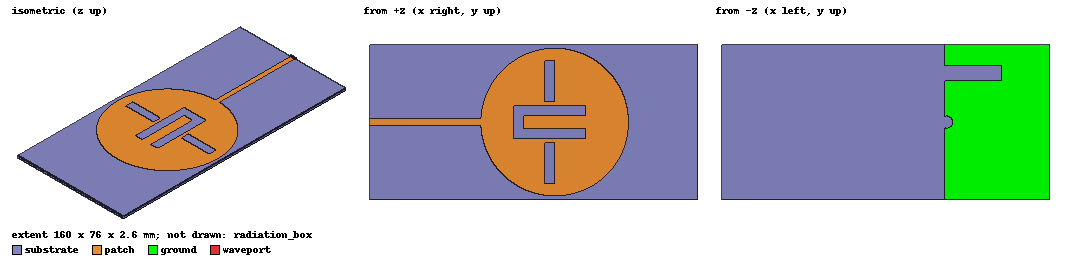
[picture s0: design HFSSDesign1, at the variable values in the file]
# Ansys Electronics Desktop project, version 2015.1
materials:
  vacuum: permittivity=1
  Material1: permittivity=4.7 dielectric_loss_tangent=0.001
  air: permittivity=1.0006 permeability=1.0000004
  FR4_epoxy: permittivity=4.4 dielectric_loss_tangent=0.02

design HFSSDesign1 (HFSS, DrivenModal, model units mm)
options: Calculate_Lossy_Dielectrics
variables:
  Lsubstrate = 160mm
  Wsubstrate = 76mm
  radius = 36mm
  Wstrip = 3mm
  Wradiation = 200mm
  Hradiation = 200mm
  substrate_height = 1.6mm
  Lradiation = 200mm
  gnd_plane_height = 51mm
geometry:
  substrate [FR4_epoxy] = box(corner=(-90.3mm, -Wsubstrate/2, 0mm), size=(Lsubstrate, Wsubstrate, substrate_height))
  ground = rectangle(corner=(-90.3mm, -Wsubstrate/2, 0mm), x_size=gnd_plane_height, y_size=Wsubstrate)
  patch = circle(normal=Z, centre=(0mm, 0mm, substrate_height), radius=radius)
  microstrip = rectangle(corner=(-90.3mm, -Wstrip/2, substrate_height), x_size=55.3mm+1mm, y_size=Wstrip)
  patch.unite(microstrip)
  waveport = rectangle(corner=(-90.3mm, -Wstrip/2-1mm, 0mm), y_size=Wstrip+2mm, z_size=substrate_height+1mm)
  radiation_box [air] = box(corner=(-90.3mm, -Wradiation/2, -Hradiation/2), size=(Lradiation, Wradiation, Hradiation))
  Rectangle1 = rectangle(corner=(-38mm, 27.5mm, 0mm), x_size=-28.7mm, y_size=-7.5mm)
  ground.subtract(Rectangle1)
  Rectangle2 = rectangle(corner=(-20mm, 8mm, 1.6mm), x_size=5mm, y_size=-16mm)
  patch.subtract(Rectangle2)
  Rectangle3 = rectangle(corner=(-15mm, 8mm, 1.6mm), x_size=30mm, y_size=-5mm)
  patch.subtract(Rectangle3)
  Rectangle4 = rectangle(corner=(-15mm, -8mm, 1.6mm), x_size=30mm, y_size=5mm)
  patch.subtract(Rectangle4)
  Rectangle5 = rectangle(corner=(-5mm, 30mm, 1.6mm), x_size=5mm, y_size=-20mm)
  patch.subtract(Rectangle5)
  Rectangle6 = rectangle(corner=(-5mm, -10mm, 1.6mm), x_size=5mm, y_size=-20mm)
  patch.subtract(Rectangle6)
  Circle1 = circle(normal=Z, centre=(-40mm, 0mm, 0mm), radius=3mm)
  ground.subtract(Circle1)
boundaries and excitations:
  PerfE1: Perfect E Objects=ground
  PerfE2: Perfect E Objects=patch
  Rad1: Radiation Objects=radiation_box
  1: Wave Port Objects=waveport NumModes=1 Modes{Mode1{IntLine{middle of waveport.edge(z at corner) -> middle of waveport.edge(z opposite corner)} CharImp=Zpi RenormImp=50ohm}}
  reference conductors: ground
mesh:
  initial mesh: GlobalSurfApproximation{SurfDevChoice=0 NormalDevChoice=1 AspectRatioChoice=1 SetFacePreservationLevel=0}
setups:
  Setup1: HfssDriven Frequency=3GHz MaxDeltaS=0.02 MaximumPasses=6 MinimumPasses=1 MinimumConvergedPasses=1 PercentRefinement=30 BasisOrder=1 PortAccuracy=2
    sweep Sweep: 0.1GHz to 5GHz step 0.01GHz; Type=Fast SaveFields
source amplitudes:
  1:1: 1 0deg
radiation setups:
  Infinite Sphere1: Infinite Sphere Theta=0deg..360deg step 5deg Phi=0deg..360deg step 5deg
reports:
  3D Polar Plot 1: dB(GainTotal) vs Phi, Theta on Setup1 : Sweep, Infinite Sphere1 [Freq=0.9GHz gnd_plane_height=40mm]
  Radiation Pattern 1: dB(GainTotal) vs Theta on Setup1 : Sweep, Infinite Sphere1 [Phi=0deg Freq=0.9GHz gnd_plane_height=49mm]; dB(GainTotal) vs Theta on Setup1 : Sweep, Infinite Sphere1 [Phi=90deg Freq=0.9GHz gnd_plane_height=49mm]; dB(GainTotal) vs Phi on Setup1 : Sweep, Infinite Sphere1 [Theta=90deg Freq=0.9GHz gnd_plane_height=49mm]; markers m1 at 360deg, m2 at 210deg, m3 at 345deg, m4 at 95deg, m5 at 275deg, m6 at 270deg, m7 at 90deg
  Radiation Pattern 2: dB(GainTotal) vs Theta on Setup1 : Sweep, Infinite Sphere1 [Phi=0deg Freq=2.4GHz gnd_plane_height=49mm]; dB(GainTotal) vs Theta on Setup1 : Sweep, Infinite Sphere1 [Phi=45deg Freq=2.4GHz gnd_plane_height=49mm]; markers m1 at 40deg, m2 at 55deg, m3 at 90deg
  3D Polar Plot 3: dB(GainTotal) vs Phi, Theta on Setup1 : Sweep, Infinite Sphere1 [Freq=1.8GHz gnd_plane_height=40mm]
  XY Plot 3: dB(S(1,1)) vs Freq on Setup1 : Sweep; markers m1 at 2.16GHz, m2 at 1.69GHz, m3 at 2.86GHz, m4 at 1.2GHz, m5 at 0.75GHz
  Radiation Pattern 3: dB(GainTotal) vs Theta on Setup1 : Sweep, Infinite Sphere1 [Phi=45deg Freq=2.16GHz]; markers m1 at 340deg
